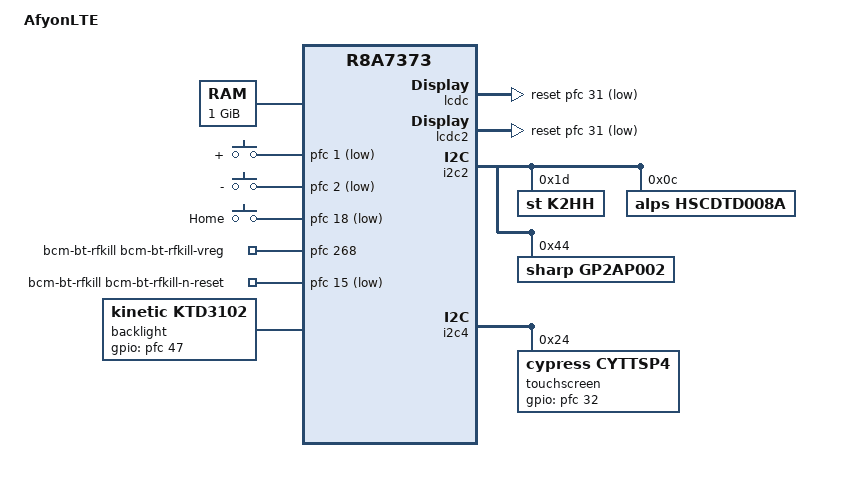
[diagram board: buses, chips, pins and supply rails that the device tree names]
/******************************************************************************/
/*                                                                            */
/* Copyright 2014 Broadcom Corporation                                        */
/*                                                                            */
/* Unless you and Broadcom execute a separate written software license        */
/* agreement governing use of this software, this software is licensed        */
/* to you under the terms of the GNU General Public License version 2         */
/* (the GPL), available at                                                    */
/*                                                                            */
/* http://www.broadcom.com/licenses/GPLv2.php                                 */
/*                                                                            */
/* with the following added to such license:                                  */
/*                                                                            */
/* As a special exception, the copyright holders of this software give        */
/* you permission to link this software with independent modules, and         */
/* to copy and distribute the resulting executable under terms of your        */
/* choice, provided that you also meet, for each linked independent           */
/* module, the terms and conditions of the license of that module.            */
/* An independent module is a module which is not derived from this           */
/* software. The special exception does not apply to any modifications        */
/* of the software.                                                           */
/*                                                                            */
/* Notwithstanding the above, under no circumstances may you combine          */
/* this software in any way with any other Broadcom software provided         */
/* under a license other than the GPL, without Broadcom's express             */
/* prior written consent.                                                     */
/*                                                                            */
/******************************************************************************/

#include "eos-board-common.dtsi"
#include <dt-bindings/gpio/gpio.h>
#include <dt-bindings/input/input.h>

/{
	model = "AfyonLTE";
	compatible = "renesas,afyonlte", "renesas,r8a7373";

	chosen {
		bootargs = "console=ttySC0,115200 earlyprintk=sh-sci.0,115200";
		linux,sysrq-reset-seq {
			keyset = <KEY_VOLUMEDOWN KEY_VOLUMEUP>;
			timeout-ms = <3000>;
		};
	};

	memory@40000000 {
		device_type = "memory";
		reg = <0x40000000 0x40000000>;
	};

	gpio-keys {
		compatible = "gpio-keys";
		#address-cells = <0>;
		#size-cells = <0>;
		pinctrl-names = "default";
		pinctrl-0 = <&key_pins>;

		volume-up {
			label = "+";
			gpios = <&pfc 1 GPIO_ACTIVE_LOW>;
			linux,code = <KEY_VOLUMEUP>;
			gpio-key,wakeup;
		};

		volume-down {
			label = "-";
			gpios = <&pfc 2 GPIO_ACTIVE_LOW>;
			linux,code = <KEY_VOLUMEDOWN>;
			gpio-key,wakeup;
		};

		/* Code may be changed to KEY_HOME by setup-u2gpio_key.c */
		home_button: home {
			label = "Home";
			gpios = <&pfc 18 GPIO_ACTIVE_LOW>;
			linux,code = <KEY_HOMEPAGE>;
			gpio-key,wakeup;
		};
	};

	bcm-bt-rfkill {
		compatible = "bcm,bcm-bt-rfkill";
		bcm-bt-rfkill-vreg-gpio = <&pfc 268 GPIO_ACTIVE_HIGH>;
		bcm-bt-rfkill-n-reset-gpio = <&pfc 15 GPIO_ACTIVE_LOW>;
	};

	wlan-sdio {
		compatible = "brcm,wlan-sdio";
		bcm-wlan-host-wake = <&pfc 98 GPIO_ACTIVE_HIGH>;
		bcm-wlan-reset = <&pfc 260 GPIO_ACTIVE_HIGH>;
	};


	backlight {
		compatible = "kinetic,ktd3102";
		max-brightness = <255>;
		default-brightness = <123>;
		gpios = <&pfc 47 GPIO_ACTIVE_HIGH>;
	};

	sound {
		compatible = "renesas,fsi-snd-d2153";
		renesas,fsia = <&fsia>;
		renesas,fsib = <&fsib>;
		renesas,mclk-freq = <13000000>;
		renesas,audio-routing =
			"RECCHL", "AIFOUTL",
			"RECCHR", "AIFOUTR",
			"AIFINL", "VCLK4",
			"AIFINR", "VCLK4",
			"AIFOUTL", "VCLK4",
			"AIFOUTR", "VCLK4",
			"Headphone Jack Left", "Headphone Left PGA",
			"Headphone Jack Right", "Headphone Right PGA",
			"Speaker", "Speaker PGA",
			"Earpiece", "Earpiece PGA";
	};
};

&lcdc {
	pname = "HX8389B";
	reset-gpio = <&pfc 31 GPIO_ACTIVE_LOW>;
	te-irq = <&pfc 27 GPIO_ACTIVE_HIGH>;
	esd-irq = <&pfc 6 GPIO_ACTIVE_HIGH>;
};

&rt {
	screen0 {
		renesas,mode = <0>; /* Video Mode */
	};
};

&lcdc2 {
	pname = "S6D78A0";
	reset-gpio = <&pfc 31 GPIO_ACTIVE_LOW>;
	te-irq = <&pfc 27 GPIO_ACTIVE_HIGH>;
	esd-irq = <&pfc 6 GPIO_ACTIVE_HIGH>;
};

&rt2 {
	screen0 {
		renesas,mode = <0>; /* video mode */
	};
};

&stm {
	ztr-clk-rate = <156000000>;
};

&pfc {
	hogs {
		unused-pins {
			renesas,groups = "i2c1h", "scifb3_data", "vio_cko5",
				"bsc_rd_we16", "bsc_cs0", "bsc_cs2", "bsc_cs4",
				"bsc_wait", "bsc_rdwr", "bsc_data16",
				"bsc_cko", "bsc_addr_0_10", "fsib_mclk_in",
				"sdhi2_data4", "sdhi2_ctrl", "sdhi0_wp";
			renesas,pins =
				"PORT4", "PORT21", "PORT26", "PORT27",
				"PORT36", "PORT44", "PORT46", "PORT104",
				"PORT140", "PORT141", "PORT142",
				"PORT198", "PORT199", "PORT202",
				"PORT275", "PORT276", "PORT277",
				"PORT311", "PORT312";
			bias-pull-down;
		};
	};

	key_pins: keys {
		renesas,pins = "PORT1", "PORT2", "PORT18";
		bias-pull-up;
	};
};

&mmcif {
	renesas,data-delay-ps = <500>; /* 500 picoseconds = 0.5 ns */
};
&i2c2 {
	#address-cells = <1>;
	#size-cells = <0>;

	/* Accelerometer sensor */
	k2hh: k2hh@1d{
		compatible = "st,k2hh";
		/* slave address */
		reg = <0x1d>;
		orientation = /bits/ 8 <0x01 0x00 0x00
					0x00 0xFF 0x00
					0x00 0x00 0x01>;
		ACC_INT = <&pfc 109 GPIO_ACTIVE_HIGH>;
	};

	/* Compass sensor*/
	hscdtd008a: hscdtd008a@0c {
		compatible = "alps,hscdtd008a";
		/* slave address */
		reg = <0x0c>;
		orientation = /bits/ 8 <0x00 0x01 0x00
					0xFF 0x00 0x00
					0x00 0x00 0x01>;
	};

	/*Proximity sensor*/
	gp2ap002: gp2ap002@44 {
		compatible = "sharp,gp2ap002";
		/* slave address */
		reg = <0x44>;
		PROXI_INT = <&pfc 108 GPIO_ACTIVE_HIGH>;
	};
};

&i2c4 {
	touchscreen@24 {
		compatible = "cypress,cyttsp4";
		reg = <0x24>;
		tname = "Cypress-Afyon";
		gpios = <&pfc 32 GPIO_ACTIVE_HIGH>;
	};
};
